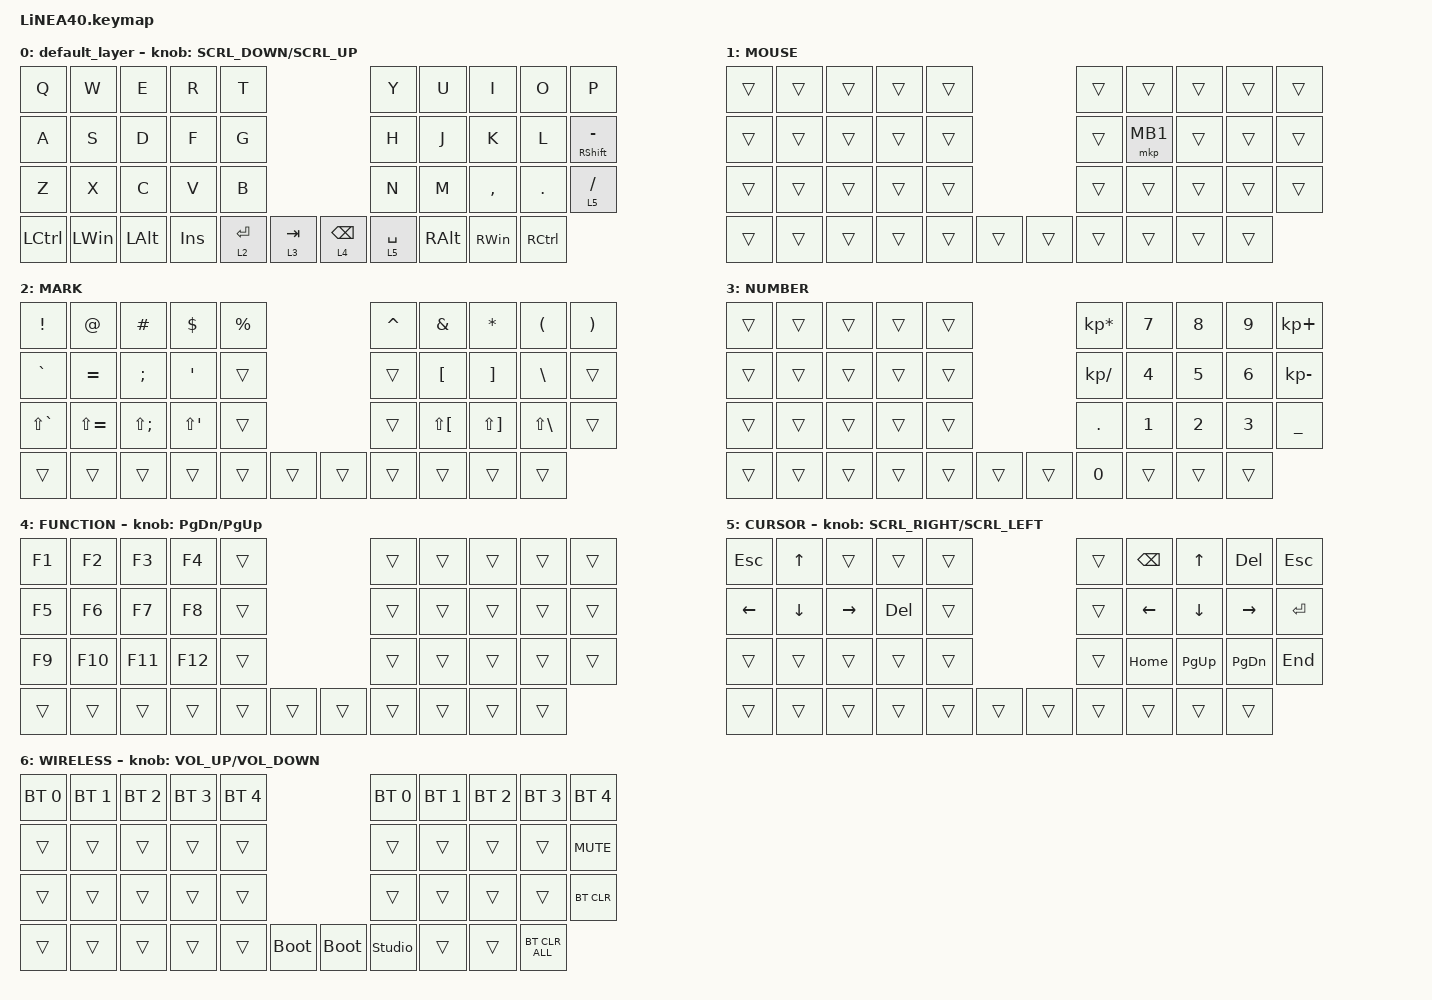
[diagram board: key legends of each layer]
#define ZMK_POINTING_DEFAULT_SCRL_VAL 150

#include <dt-bindings/zmk/input_transform.h>
#include <input/processors.dtsi>
#include <zephyr/dt-bindings/input/input-event-codes.h>
#include <behaviors.dtsi>
#include <dt-bindings/zmk/bt.h>
#include <dt-bindings/zmk/keys.h>
#include <dt-bindings/zmk/pointing.h>

#define MOUSE 1
#define MARK 2
#define CURSOR 3
#define FUNCTION 4
#define SCROLL 5
#define WIRELESS 6

//mouse cursol

&mmv {
    delay-ms = <20>;
    trigger-period-ms = <5>;
    time-to-max-speed-ms = <100>;
    acceleration-exponent = <2>;
};

//mouse scroll

&msc {
    delay-ms = <3>;
    trigger-period-ms = <3>;
    time-to-max-speed-ms = <100>;
    acceleration-exponent = <0>;
};

/ {
    input_processors {
        zip_wheel_scaler: zip_wheel_scaler {
            compatible = "zmk,input-processor-scaler";
            #input-processor-cells = <2>;
            type = <INPUT_EV_REL>;
            codes = <INPUT_REL_WHEEL>;
            track-remainders;
        };
    };
};

&msc_input_listener {
    speed_up {
        layers = <FUNCTION>;
        input-processors = <&zip_wheel_scaler 3 1>; //スクロールを3倍速にする
    };
};

&trackball_listener {
    scroller {
        layers = <SCROLL>;
        input-processors =
            <&zip_xy_transform INPUT_TRANSFORM_Y_INVERT>,
            //スクロール方向を逆転,,,,,,,,,,,,,,,,,,,,,
            <&zip_xy_to_scroll_mapper>;
    };
};

/ {
    combos {
        compatible = "zmk,combos";

        CenterClick {
            bindings = <&mkp MB3>;
            key-positions = <16 18 17>;
        };

        RightClick {
            bindings = <&mkp MB2>;
            key-positions = <18 17>;
        };

        PrevClick {
            bindings = <&mkp MB4>;
            key-positions = <9 8>;
        };

        ClickNext {
            bindings = <&mkp MB5>;
            key-positions = <6 5>;
        };

        Click {
            bindings = <&mkp MB1>;
            key-positions = <16 17>;
        };

        Esc {
            bindings = <&kp ESCAPE>;
            key-positions = <1 0>;
        };

        CapsLock {
            bindings = <&kp CAPSLOCK>;
            key-positions = <22 21>;
        };

        LeftShift {
            bindings = <&kp LEFT_SHIFT>;
            key-positions = <11 12>;
        };

        LeftCtrlShift {
            bindings = <&kp LS(LCTRL)>;
            key-positions = <30 20>;
        };

        RightCtrlShift {
            bindings = <&kp RS(RCTRL)>;
            key-positions = <40 29>;
        };

        Layer6 {
            bindings = <&lt 6 RCTRL>;
            key-positions = <16 18>;
        };

        LeftWin {
            bindings = <&kp LEFT_WIN>;
            key-positions = <35 34>;
        };

        RightAlt {
            bindings = <&kp RIGHT_ALT>;
            key-positions = <37 36>;
        };

        Menu {
            bindings = <&mt RCTRL K_APP>;
            key-positions = <27 26>;
        };

        Pscrn {
            bindings = <&kp PRINTSCREEN>;
            key-positions = <6 7 8>;
        };

        Layer6_2 {
            bindings = <&lt 6 RCTRL>;
            key-positions = <11 13>;
        };
    };

    behaviors {
        re_kp: sensor_rotate_kp {
            compatible = "zmk,behavior-sensor-rotate-var";
            #sensor-binding-cells = <2>;
            bindings = <&kp>, <&kp>;
        };

        mouse_scrl: mouse_wheel_scrl {
            compatible = "zmk,behavior-sensor-rotate-var";
            #sensor-binding-cells = <2>;
            bindings = <&msc>, <&msc>;

            tap-ms = <20>;
        };
    };

    keymap {
        compatible = "zmk,keymap";

        default_layer {
            bindings = <
&kp Q      &kp W         &kp E         &kp R    &kp T                                      &kp Y        &kp U  &kp I          &kp O          &kp P
&kp A      &kp S         &kp D         &kp F    &kp G                                      &kp H        &kp J  &kp K          &kp L          &mt RIGHT_SHIFT MINUS
&kp Z      &kp X         &kp C         &kp V    &kp B                                      &kp N        &kp M  &kp COMMA      &kp DOT        &lt 5 SLASH
&kp LCTRL  &kp LEFT_WIN  &kp LEFT_ALT  &kp INS  &lt 2 ENTER  &lt 3 TAB    &lt 4 BACKSPACE  &lt 5 SPACE         &kp RIGHT_ALT  &kp RIGHT_WIN  &kp RCTRL
            >;

            sensor-bindings = <&mouse_scrl SCRL_DOWN SCRL_UP>;
        };

        //1

        MOUSE {
            bindings = <
&trans  &trans  &trans  &trans  &trans                    &trans  &trans    &trans  &trans  &trans
&trans  &trans  &trans  &trans  &trans                    &trans  &mkp MB1  &trans  &trans  &trans
&trans  &trans  &trans  &trans  &trans                    &trans  &trans    &trans  &trans  &trans
&trans  &trans  &trans  &trans  &trans  &trans    &trans  &trans            &trans  &trans  &trans
            >;
        };

        //2

        MARK {
            bindings = <
&kp EXCLAMATION  &kp AT         &kp HASH      &kp DOLLAR    &kp PERCENT                    &kp CARET  &kp AMPERSAND         &kp ASTERISK           &kp LEFT_PARENTHESIS  &kp RIGHT_PARENTHESIS
&kp GRAVE        &kp EQUAL      &kp SEMI      &kp APOS      &trans                         &trans     &kp LBKT              &kp RIGHT_BRACKET      &kp BACKSLASH         &trans
&kp LS(GRAVE)    &kp LS(EQUAL)  &kp LS(SEMI)  &kp LS(APOS)  &trans                         &trans     &kp LS(LEFT_BRACKET)  &kp LS(RIGHT_BRACKET)  &kp LS(BACKSLASH)     &trans
&trans           &trans         &trans        &trans        &trans       &trans    &trans  &trans                           &trans                 &trans                &trans
            >;
        };

        //3

        NUMBER {
            bindings = <
&trans  &trans  &trans  &trans  &trans                    &kp KP_MULTIPLY  &kp NUMBER_7  &kp NUMBER_8  &kp NUMBER_9  &kp KP_PLUS
&trans  &trans  &trans  &trans  &trans                    &kp KP_SLASH     &kp NUMBER_4  &kp NUMBER_5  &kp NUMBER_6  &kp KP_MINUS
&trans  &trans  &trans  &trans  &trans                    &kp DOT          &kp NUMBER_1  &kp NUMBER_2  &kp NUMBER_3  &kp UNDERSCORE
&trans  &trans  &trans  &trans  &trans  &trans    &trans  &kp NUMBER_0                   &trans        &trans        &trans
            >;
        };

        //4

        FUNCTION {
            bindings = <
&kp F1  &kp F2   &kp F3   &kp F4   &trans                    &trans  &trans  &trans  &trans  &trans
&kp F5  &kp F6   &kp F7   &kp F8   &trans                    &trans  &trans  &trans  &trans  &trans
&kp F9  &kp F10  &kp F11  &kp F12  &trans                    &trans  &trans  &trans  &trans  &trans
&trans  &trans   &trans   &trans   &trans  &trans    &trans  &trans          &trans  &trans  &trans
            >;

            sensor-bindings = <&re_kp PAGE_DOWN PAGE_UP>;
        };

        //5

        CURSOR {
            bindings = <
&kp ESCAPE      &kp UP_ARROW    &trans           &trans      &trans                    &trans  &kp BACKSPACE   &kp UP_ARROW  &kp DELETE  &kp ESCAPE
&kp LEFT_ARROW  &kp DOWN_ARROW  &kp RIGHT_ARROW  &kp DELETE  &trans                    &trans  &kp LEFT_ARROW  &kp DOWN      &kp RIGHT   &kp ENTER
&trans          &trans          &trans           &trans      &trans                    &trans  &kp HOME        &kp PG_UP     &kp PG_DN   &kp END
&trans          &trans          &trans           &trans      &trans  &trans    &trans  &trans                  &trans        &trans      &trans
            >;

            sensor-bindings = <&mouse_scrl SCRL_RIGHT SCRL_LEFT>;
        };

        //6

        WIRELESS {
            bindings = <
&bt BT_SEL 0  &bt BT_SEL 1  &bt BT_SEL 2  &bt BT_SEL 3  &bt BT_SEL 4                              &bt BT_SEL 0    &bt BT_SEL 1  &bt BT_SEL 2  &bt BT_SEL 3  &bt BT_SEL 4
&trans        &trans        &trans        &trans        &trans                                    &trans          &trans        &trans        &trans        &kp K_MUTE
&trans        &trans        &trans        &trans        &trans                                    &trans          &trans        &trans        &trans        &bt BT_CLR
&trans        &trans        &trans        &trans        &trans        &bootloader    &bootloader  &studio_unlock                &trans        &trans        &bt BT_CLR_ALL
            >;

            sensor-bindings = <&inc_dec_kp C_VOLUME_UP C_VOLUME_DOWN>;
        };
    };
};
